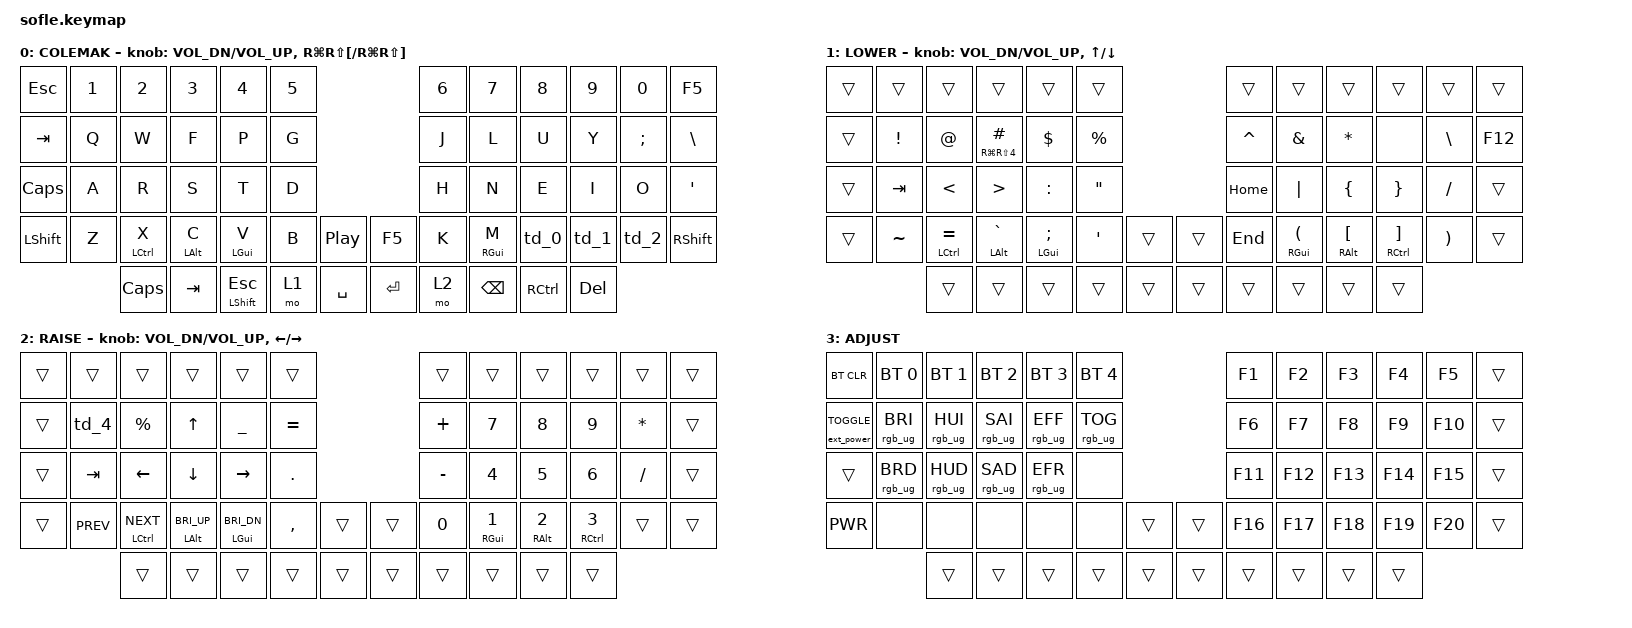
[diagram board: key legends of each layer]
/*
 * Copyright (c) 2020 The ZMK Contributors
 *
 * SPDX-License-Identifier: MIT
 */

// Define layer numbers
#define BASE 0
#define LOWER 1
#define RAISE 2
#define ADJUST 3


// ZMK includes
#include <behaviors.dtsi>
#include <dt-bindings/zmk/keys.h>
#include <dt-bindings/zmk/bt.h>
#include <dt-bindings/zmk/rgb.h>
#include <dt-bindings/zmk/ext_power.h>

// Personal includes
#include "includes/settings.dtsi"
#include "includes/settings_pd.dtsi"
//#include "includes/conditional_layers.dtsi"
#include "includes/macros.dtsi"
//#include "includes/combos.dtsi"
#include "includes/behaviours_homerow_mods.dtsi"
//#include "includes/behaviours_mod_morph.dtsi"
#include "includes/behaviours_other.dtsi"


/ {

  /*
   * Keymap generated using https://www.keymapper.dev/
   * Import sofle_keymap.json to view it.
   */
   
    // Activate ADJUST layer by pressing raise and lower
    conditional_layers {
        compatible = "zmk,conditional-layers";
        adjust_layer {
            if-layers = <LOWER RAISE>;
            then-layer = <ADJUST>;
        };
    };
    combos {
        compatible = "zmk,combos";
        combo_mute {
            timeout-ms = <50>;
            key-positions = <CAPS LSHIFT>;
            bindings = <&kp C_MUTE>;
        };
        combo_esc {
            timeout-ms = <50>;
            key-positions = <Q W>;
            bindings = <&kp ESC>;
        };
        combo_sleep {
            timeout-ms = <50>;
            key-positions = <SQT RSHFT>;
            bindings = <&kp C_PWR>;
        };
    };
    //macros {
    //    m_1: m_1 {
    //        label = "Lasso Screenshot";
    //        compatible = "zmk,behavior-macro";
    //        #binding-cells = <0>;
    //        bindings
    //            = <&macro_press &kp RG(RS(N4))>
    //            , <&macro_wait_time 100>
    //            , <&macro_release &kp RG(RS(N4))>
    //            ;
    //    };
    //};
    behaviors {
        td_0: tap_dance_0 {
            compatible = "zmk,behavior-tap-dance";
            label = "ALT_COMMA_MINUS";
            #binding-cells = <0>;
            tapping-term-ms = <200>;
            bindings = <&mt RALT COMMA>, <&kp MINUS>;
        };
        td_1: tap_dance_1 {
            compatible = "zmk,behavior-tap-dance";
            label = "CONTROL_DOT_EXCLAIM";
            #binding-cells = <0>;
            tapping-term-ms = <200>;
            bindings = <&mt RCTRL DOT>, <&kp EXCL>;
        };
        td_2: tap_dance_2 {
            compatible = "zmk,behavior-tap-dance";
            label = "FORWARD_SLASH_UNDERSCORE";
            #binding-cells = <0>;
            tapping-term-ms = <200>;
            bindings = <&kp FSLH>, <&kp UNDER>;
        };
        //td_3: tap_dance_3 {
        //    compatible = "zmk,behavior-tap-dance";
        //    label = "MOD1_HASHTAG";
        //    #binding-cells = <0>;
        //    tapping-term-ms = <200>;
        //    bindings = <&kp HASH>, <&m_1>;
        //};
        td_4: tap_dance_4 {
            compatible = "zmk,behavior-tap-dance";
            label = "Q_W_H";
            #binding-cells = <0>;
            tapping-term-ms = <200>;
            bindings = <&mt Q W>, <&kp H>;
        };
    };
  keymap {
        compatible = "zmk,keymap";
        default_layer {
            label = " COLEMAK";
//TODO Rethink the far outer columns and the extra two thumb keys per side.
            bindings = <
&kp ESC   &kp N1 &kp N2      &kp N3     &kp N4        &kp N5                    &kp N6 &kp N7     &kp N8    &kp N9  &kp N0   &kp F5
&kp TAB   &kp Q  &kp W       &kp F      &kp P         &kp G                     &kp J  &kp L      &kp U     &kp Y   &kp SEMI &kp BSLH
&kp CAPS  &kp A  &kp R       &kp S      &kp T         &kp D                     &kp H  &kp N      &kp E     &kp I   &kp O    &kp SQT
&kp LSHFT &kp Z  &mt LCTRL X &mt LALT C &mt LGUI V    &kp B &kp C_PP  &kp F5    &kp K  &mt RGUI M &td_0     &td_1   &td_2    &kp RSHFT
                 &kp CAPS    &kp TAB    &mt LSHFT ESC &mo 1 &kp SPACE &kp ENTER &mo 2  &kp BSPC   &kp RCTRL &kp DEL
            >;
            sensor-bindings = <&inc_dec_kp C_VOL_DN C_VOL_UP &inc_dec_kp RG(RS(LBKT)) RG(RS(RBKT))>;
        };

        lower_layer {
          label = " LOWER";
            bindings = <
&trans &trans    &trans          &trans              &trans        &trans                  &trans    &trans        &trans        &trans         &trans   &trans
&trans &kp EXCL  &kp AT          &mt RG(RS(N4)) HASH &kp DLLR      &kp PRCNT               &kp CARET &kp AMPS      &kp STAR      &none          &kp BSLH &kp F12
&trans &kp TAB   &kp LT          &kp GT              &kp COLON     &kp DQT                 &kp HOME  &kp PIPE      &kp LBRC      &kp RBRC       &kp FSLH &trans
&trans &kp TILDE &mt LCTRL EQUAL &mt LALT GRAVE      &mt LGUI SEMI &kp SQT   &trans &trans &kp END   &mt RGUI LPAR &mt RALT LBKT &mt RCTRL RBKT &kp RPAR &trans
                 &trans          &trans              &trans        &trans    &trans &trans &trans    &trans        &trans        &trans
            >;

            sensor-bindings = <&inc_dec_kp C_VOL_DN C_VOL_UP &inc_dec_kp UP DOWN>;
        };

        raise_layer {
         label = " RAISE";
            bindings = <
&trans &trans     &trans           &trans            &trans            &trans                  &trans    &trans      &trans      &trans       &trans   &trans
&trans &td_4      &kp PRCNT        &kp UP            &kp UNDER         &kp EQUAL               &kp PLUS  &kp N7      &kp N8      &kp N9       &kp STAR &trans
&trans &kp TAB    &kp LEFT         &kp DOWN          &kp RIGHT         &kp DOT                 &kp MINUS &kp N4      &kp N5      &kp N6       &kp FSLH &trans
&trans &kp C_PREV &mt LCTRL C_NEXT &mt LALT C_BRI_UP &mt LGUI C_BRI_DN &kp COMMA &trans &trans &kp N0    &mt RGUI N1 &mt RALT N2 &mt RCTRL N3 &trans   &trans
                  &trans           &trans            &trans            &trans    &trans &trans &trans    &trans      &trans      &trans
            >;

            sensor-bindings = <&inc_dec_kp C_VOL_DN C_VOL_UP &inc_dec_kp LEFT RIGHT>;
        };

        Adjust_layer {
            label = " ADJUST";
        bindings = <
&bt BT_CLR                      &bt BT_SEL 0    &bt BT_SEL 1    &bt BT_SEL 2    &bt BT_SEL 3    &bt BT_SEL 4                   &kp F1  &kp F2  &kp F3  &kp F4  &kp F5  &trans
&ext_power EXT_POWER_TOGGLE_CMD &rgb_ug RGB_BRI &rgb_ug RGB_HUI &rgb_ug RGB_SAI &rgb_ug RGB_EFF &rgb_ug RGB_TOG                &kp F6  &kp F7  &kp F8  &kp F9  &kp F10 &trans
&trans                          &rgb_ug RGB_BRD &rgb_ug RGB_HUD &rgb_ug RGB_SAD &rgb_ug RGB_EFR &none                          &kp F11 &kp F12 &kp F13 &kp F14 &kp F15 &trans
&kp C_PWR                       &none           &none           &none           &none           &none           &trans  &trans &kp F16 &kp F17 &kp F18 &kp F19 &kp F20 &trans
                                                &trans          &trans          &trans          &trans          &trans  &trans &trans  &trans  &trans  &trans
        >;
        };

    };
};
